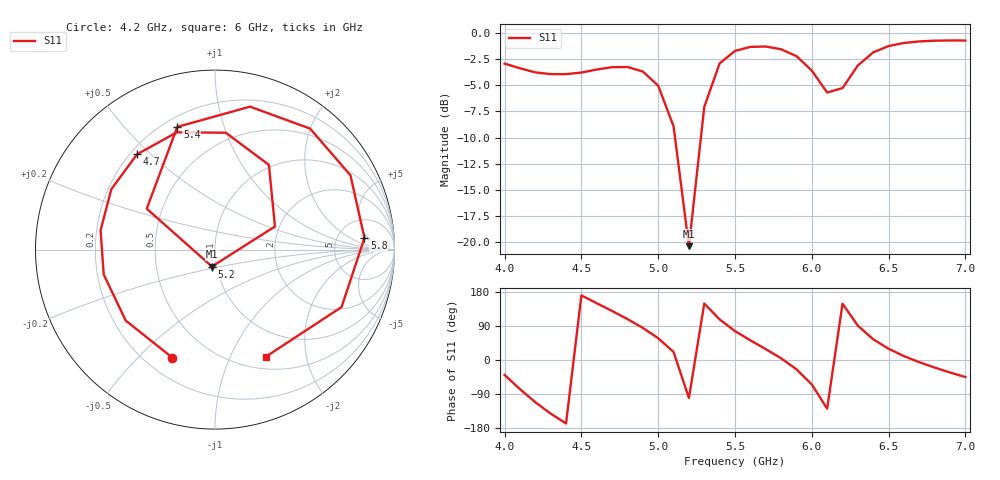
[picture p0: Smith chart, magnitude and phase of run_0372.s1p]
! Touchstone file exported from HFSS 2024.2.0
!  File:  C:/Users/wsak9/Desktop/Sim Fast/Widenad Patch/WP_AI_V1_sweep.aedt
!  Generated:  06:51:48 AM Oct 14, 2026
!  Design:  A1_model
!  Project:  WP_AI_V1_sweep
!  Setup:  Setup1
!  Solution:  Sweep
! Variables:
!  Air_gap = 3.84mm
!  Curve_Amp1 = 3.46
!  Curve_len1 = 1
!  Curve_pos = 11.61mm
!  Extra = 5.83mm
!  H_sub = 0.79mm
!  L_Patch = 19.22mm
!  L_Patch1 = 19.8mm
!  Sx = 0.53mm
!  Sy = 3.04mm
!  WS = 1.36mm
!  W_Patch = 10.04mm
!  W_Patch1 = 13.97mm
!Data is not renormalized
# GHz S MA
! Terminal data exported
! Port[1] = 1
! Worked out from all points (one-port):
!   31 points, 4 GHz to 7 GHz, reference per port
!   lowest |S11| = -20.4 dB at 5.2 GHz (marker M1), VSWR 1.21
!   |S11| at or under -10 dB: 5.109 GHz to 5.278 GHz (168.5 MHz wide, 3.24 % of centre)
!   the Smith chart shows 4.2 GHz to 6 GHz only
!   S11 on the Smith chart (normalised r, x): 4.2 GHz: 0.31, -0.64; 4.7 GHz: 0.23, +0.45; 5.2 GHz: 0.95, -0.18; 5.4 GHz: 0.25, +0.71; 5.8 GHz: 9, +4; 6 GHz: 0.65, -1.37
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4  0.7134 -39.5
4.1  0.6776 -76.9
4.2  0.6475 -111.5
4.3  0.6355 -141.5
4.4  0.6353 -167.4
4.6  0.6683 149.8
4.7  0.686 129.3
4.8  0.687 108.0
4.9  0.654 84.7
5  0.5592 57.5
5.1  0.358 21.1
5.2  0.09582 -100.3
5.3  0.4434 149.1
5.4  0.7151 107.1
5.5  0.8199 76.2
5.6  0.8573 51.8
5.7  0.8608 28.8
5.8  0.8353 4.5
5.9  0.7746 -24.4
6  0.6604 -64.5
6.1  0.5192 -128.5
6.2  0.545 148.6
6.3  0.699 90.5
6.4  0.8073 54.6
6.5  0.8651 29.6
6.6  0.8951 10.3
6.7  0.9104 -5.8
7  0.9194 -45.0
